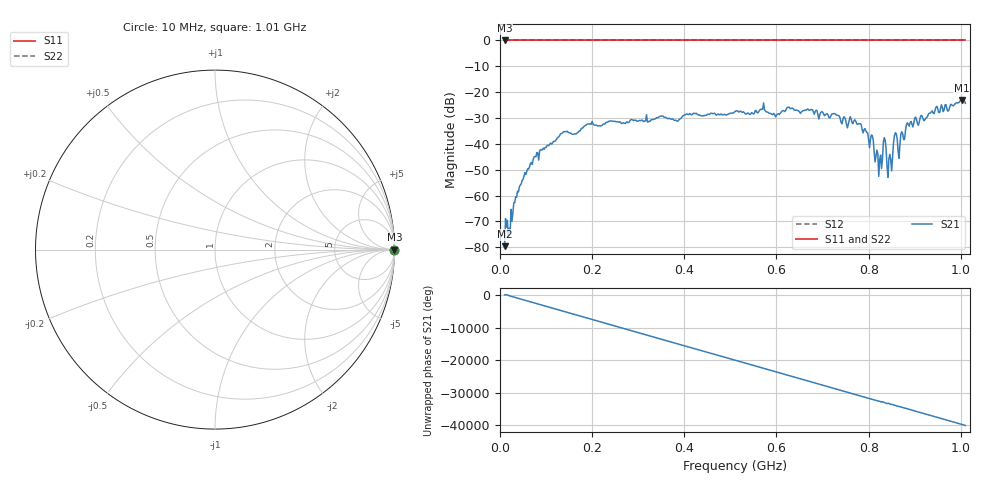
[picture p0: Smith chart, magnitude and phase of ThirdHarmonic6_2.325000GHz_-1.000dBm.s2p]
! 8/17/2025 3:19:42 AM
! C:\ANRITSUVNA\TEMP\TEMP.S2P
! CHANNEL.1
! TR.MEASUREMENT
! RAW.DATA
! RF.CORRECTION.OFF
! AVERAGING.OFF
! IF.BANDWIDTH: 5KHZ
! SWEEPTYPE:  FREQ.SWEEP(Linear)
! Reference Plane Port Info
! PORT:  PORT1  PORT2
! DISTANCE:  0  m  0  m
! TIME:  0  s  0  s
! PHASE.OFFSET:  0  deg.  0  deg.
! LOSS:  0  dB  0  dB
! REF.LOSS:  0  dB  0  dB
! REF.FREQ:  0  Hz  0  Hz
! Power Info
! POWER:  -20  dBm  -20  dBm
! EFF.POWER:  -20  dBm  -20  dBm
! SOURCE.ATTEN:  0  dB  0  dB
! TEST.ATTEN:  0  dB  0  dB
# GHZ S RI R 50.0
! FREQ.GHZ  S11RE  S11IM  S21RE  S21IM  S12RE  S12IM  S22RE  S22IM
!; PortSelection: Port_12
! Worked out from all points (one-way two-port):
!   501 points, 10 MHz to 1.01 GHz, reference 50 ohm
!   highest |S21| = -23.02 dB at 1.002 GHz (marker M1); lowest = -79.6 dB at 10 MHz (marker M2)
!   lowest |S11| = 0.0 dB at 10 MHz (marker M3)
!   |S11| at or under -10 dB: nowhere
!   |S22| runs from 0.0 to 0.0 dB; largest |S21 - S12| = 1.1
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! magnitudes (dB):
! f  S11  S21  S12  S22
! 10 MHz  0.0  -79.6  0.0  0.0
! 16 MHz  0.0  -69.6  0.0  0.0
! 22 MHz  0.0  -74.2  0.0  0.0
! 42 MHz  0.0  -56.6  0.0  0.0
! 76 MHz  0.0  -44.9  0.0  0.0
! 136 MHz  0.0  -35.7  0.0  0.0
! 178 MHz  0.0  -33.9  0.0  0.0
! 344 MHz  0.0  -29.7  0.0  0.0
! 510 MHz  0.0  -27.6  0.0  0.0
! 678 MHz  0.0  -26.8  0.0  0.0
! 780 MHz  0.0  -32.2  0.0  0.0
! 808 MHz  0.0  -36.8  0.0  0.0
! 818 MHz  0.0  -42.4  0.0  0.0
! 826 MHz  0.0  -44.4  0.0  0.0
! 834 MHz  0.0  -37.6  0.0  0.0
! 844 MHz  0.0  -45.8  0.0  0.0
! 852 MHz  0.0  -45.0  0.0  0.0
! 858 MHz  0.0  -35.7  0.0  0.0
! 866 MHz  0.0  -45.6  0.0  0.0
! 886 MHz  0.0  -32.5  0.0  0.0
! 1.002 GHz  0.0  -23.0  0.0  0.0
! 1.01 GHz  0.0  -24.3  0.0  0.0
